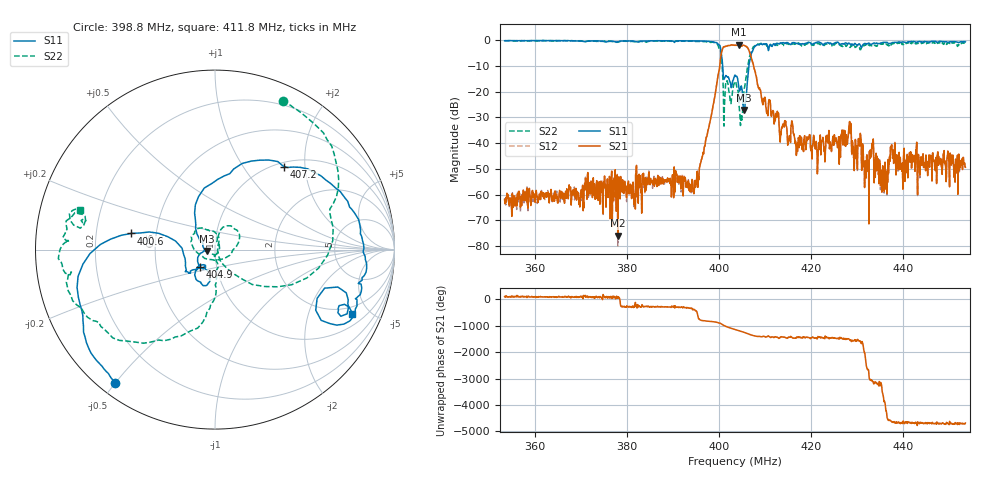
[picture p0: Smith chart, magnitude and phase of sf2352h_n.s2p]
# Hz S RI R 50
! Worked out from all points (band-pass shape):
!   1601 points, 353.5 MHz to 453.5 MHz, reference 50 ohm
!   highest |S21| = -1.72 dB at 404.3 MHz (marker M1); lowest = -76.0 dB at 378.1 MHz (marker M2)
!   |S21| within 3 dB of the highest: 400.6 MHz to 406.7 MHz (6.084 MHz wide, 1.51 % of centre)
!   lowest |S11| = -27.1 dB at 405.5 MHz (marker M3), VSWR 1.09, Z = 45.8 - j0.751 ohm
!   |S11| at or under -10 dB: 400.8 MHz to 406.5 MHz (5.688 MHz wide, 1.41 % of centre)
!   |S22| runs from -33.4 to -0.1 dB; largest |S21 - S12| = 0.0048
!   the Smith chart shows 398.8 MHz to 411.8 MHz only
!   S11 on the Smith chart (normalised r, x): 398.8 MHz: 0.05, -0.50; 400.6 MHz: 0.36, +0.08; 404.9 MHz: 0.83, -0.17; 407.2 MHz: 1.08, +1.56; 411.8 MHz: 1.55, -3.89
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3.535e8  0.4551 -0.8672  -0.00011 0.00079  -0.000111 0.000853  -0.9636 0.1856
3.701875e8  0.3244 -0.9032  9.48e-05 0.00126  0.00017 0.00119  -0.8619 0.4282
3.780625e8  0.2992 -0.8805  0.000125 9.86e-05  7.65e-05 6.42e-05  -0.7716 0.4913
3.86875e8  0.1875 -0.9607  0.000751 0.00179  0.000658 0.00178  -0.678 0.6908
3.949375e8  -0.1166 -0.9605  0.000252 -0.00137  0.000196 -0.00151  -0.2773 0.912
3.988125e8  -0.5565 -0.7427  -0.0387 -0.0422  -0.0388 -0.0423  0.3787 0.8294
4.00625e8  -0.4659 0.0902  -0.431 0.4255  -0.4335 0.427  0.3486 -0.2072
4.013125e8  -0.1634 -0.0986  0.2719 0.7023  0.273 0.7049  0.0186 0.0784
4.02125e8  -0.1365 -0.1306  0.7716 0.1685  0.7716 0.1705  0.1097 0.00758
4.035e8  -0.0663 -0.2006  0.3242 -0.7282  0.3238 -0.7271  -0.1127 0.0905
4.043125e8  -0.0878 -0.0881  -0.2678 -0.7756  -0.2675 -0.7744  0.0135 0.0653
4.04875e8  -0.0844 -0.0988  -0.5831 -0.503  -0.5847 -0.5036  -0.0129 -0.0312
4.055e8  -0.0434 -0.00818  -0.7868 -0.0871  -0.7885 -0.0885  0.00961 -0.1132
4.0725e8  0.3833 0.4622  0.0851 0.3834  0.085 0.3829  -0.4313 -0.5169
4.08625e8  0.8271 0.0319  0.0952 0.0684  0.0952 0.0684  -0.8176 -0.1415
4.118125e8  0.7642 -0.3597  0.0423 0.00188  0.0424 0.00172  -0.7522 0.2214
4.201875e8  0.5317 -0.6575  0.00477 -0.00144  0.0047 -0.00126  -0.5505 0.5925
4.281875e8  0.4671 -0.7454  0.0109 -0.0158  0.0111 -0.016  -0.2893 0.7186
4.320625e8  0.5012 -0.6897  0.00396 -0.00386  0.00395 -0.00369  -0.358 0.7718
4.33125e8  0.4885 -0.6754  -0.00588 -0.000697  -0.00582 -0.00042  -0.2758 0.728
4.36875e8  0.463 -0.7212  -0.00193 0.00381  -0.00179 0.00381  -0.1808 0.7646
4.535e8  0.3749 -0.8554  0.00342 -0.000105  0.0034 -7.99e-05  0.4038 0.7735
